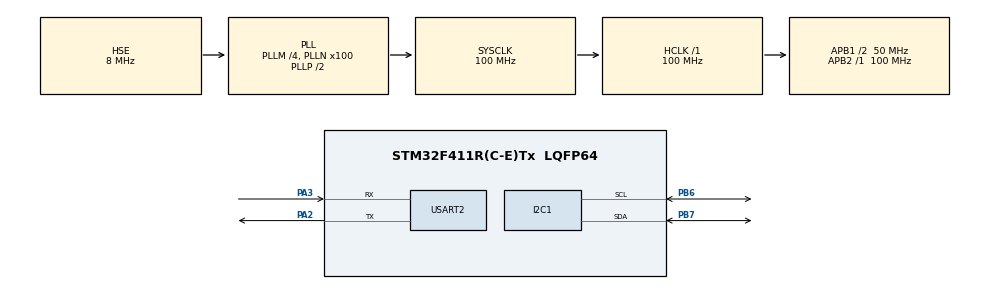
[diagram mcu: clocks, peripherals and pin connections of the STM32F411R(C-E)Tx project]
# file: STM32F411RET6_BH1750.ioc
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Mcu.Family=STM32F4
Mcu.Name=STM32F411R(C-E)Tx
Mcu.Package=LQFP64
NVIC.I2C1_ER_IRQn=true\:0\:0\:false\:false\:true\:true\:true\:true
NVIC.I2C1_EV_IRQn=true\:0\:0\:false\:false\:true\:true\:true\:true
NVIC.PriorityGroup=NVIC_PRIORITYGROUP_4
NVIC.USART2_IRQn=true\:0\:0\:false\:false\:true\:true\:true\:true
PA2.Mode=Asynchronous
PA2.Signal=USART2_TX
PA3.Mode=Asynchronous
PA3.Signal=USART2_RX
PB6.Mode=I2C
PB6.Signal=I2C1_SCL
PB7.Mode=I2C
PB7.Signal=I2C1_SDA
PH0\ -\ OSC_IN.Mode=HSE-External-Oscillator
PH0\ -\ OSC_IN.Signal=RCC_OSC_IN
PH1\ -\ OSC_OUT.Mode=HSE-External-Oscillator
PH1\ -\ OSC_OUT.Signal=RCC_OSC_OUT
ProjectManager.HeapSize=0x200
ProjectManager.StackSize=0x400
ProjectManager.TargetToolchain=STM32CubeIDE
RCC.48MHZClocksFreq_Value=50000000
RCC.AHBFreq_Value=100000000
RCC.APB1CLKDivider=RCC_HCLK_DIV2
RCC.APB1Freq_Value=50000000
RCC.APB1TimFreq_Value=100000000
RCC.APB2Freq_Value=100000000
RCC.APB2TimFreq_Value=100000000
RCC.CortexFreq_Value=100000000
RCC.HCLKFreq_Value=100000000
RCC.HSE_VALUE=8000000
RCC.HSI_VALUE=16000000
RCC.LSE_VALUE=32768
RCC.PLLM=4
RCC.PLLN=100
RCC.PLLSourceVirtual=RCC_PLLSOURCE_HSE
RCC.SYSCLKFreq_VALUE=100000000
RCC.SYSCLKSource=RCC_SYSCLKSOURCE_PLLCLK
RCC.VCOOutputFreq_Value=200000000
USART2.VirtualMode=VM_ASYNC
board=custom

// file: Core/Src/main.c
/* USER CODE BEGIN Header */
/**
 ******************************************************************************
 * @file           : main.c
 * @brief          : Main program body
 ******************************************************************************
 * @attention
 *
 * Copyright (c) 2024 STMicroelectronics.
 * All rights reserved.
 *
 * This software is licensed under terms that can be found in the LICENSE file
 * in the root directory of this software component.
 * If no LICENSE file comes with this software, it is provided AS-IS.
 *
 ******************************************************************************
 */
/* USER CODE END Header */
#include "main.h"

/* USER CODE BEGIN Includes */
#define PLATFORM_STM32_HAL
#include <sensors/BH1750.h>
#include <xuart.h>
/* USER CODE END Includes */

I2C_HandleTypeDef hi2c1;

UART_HandleTypeDef huart2;

/* USER CODE BEGIN PV */
I2CPollingModeMaster i2c(&hi2c1);
BH1750 gy302(&i2c);

UARTLogger logger(&huart2);
/* USER CODE END PV */

void SystemClock_Config(void);
static void MX_GPIO_Init(void);
static void MX_USART2_UART_Init(void);
static void MX_I2C1_Init(void);

int main(void)
{

    /* MCU Configuration--------------------------------------------------------*/

    /* Reset of all peripherals, Initializes the Flash interface and the Systick. */
    HAL_Init();

    /* Configure the system clock */
    SystemClock_Config();

    /* Initialize all configured peripherals */
    MX_GPIO_Init();
    MX_USART2_UART_Init();
    MX_I2C1_Init();
    /* USER CODE BEGIN 2 */
    logger.writeLine("Starting sensor...");
    if (!gy302.init()) {
        logger.writeLine("Unable to initialize BH1750, error: %d", (uint8_t) gy302.error());
    }

    // the next code is not necessary in use, but this is a full test:
    logger.xassert(gy302.powerDown(), "powerDown failed, error: %d", (uint8_t) gy302.error());
    logger.xassert(gy302.powerOn(), "powerOn failed, error: %d", (uint8_t) gy302.error());
    logger.xassert(gy302.reset(), "reset failed, error: %d", (uint8_t) gy302.error());
    logger.xassert(gy302.setMTReg(56), "setMTReg failed, error: %d", (uint8_t) gy302.error());
    logger.xassert(gy302.setPowerState(BH1750PowerState::PowerDown), "setPowerState:powerDown failed, error: %d", (uint8_t) gy302.error());
    logger.xassert(gy302.setPowerState(BH1750PowerState::PowerOn), "setPowerState:powerOn failed, error: %d", (uint8_t) gy302.error());
    logger.xassert(gy302.setPowerState(BH1750PowerState::Reset), "setPowerState:reset failed, error: %d", (uint8_t) gy302.error());
    logger.xassert(gy302.setResolution(BH1750ResolutionMode::ContinuouslyLow), "setResolution failed, error: %d", (uint8_t) gy302.error());
    float v1 = gy302.value();
    logger.xassert(!std::isnan(v1), "Invalid value v1, error: %d", (uint8_t) gy302.error());
    logger.xassert(gy302.setResolution(BH1750ResolutionMode::OneTimeLow), "setResolution:OneTimeLow failed, error: %d", (uint8_t) gy302.error());
    float v2 = gy302.value();
    logger.xassert(!std::isnan(v2), "Invalid value v2, error: %d", (uint8_t) gy302.error());
    float e = 20; // possible deviation
    logger.xassert(std::abs(v2 - v1) < e, "Value v2 != v1, error: %d", (uint8_t) gy302.error());
    gy302.reset(); // reset the device after every measuring in OneTimeXXX modes

    logger.xassert(gy302.setResolution(BH1750ResolutionMode::OneTimeHigh1), "setResolution:OneTimeHigh1 failed, error: %d", (uint8_t) gy302.error());
    float v3 = gy302.value();
    logger.xassert(!std::isnan(v3), "Invalid value v3, error: %d", (uint8_t) gy302.error());
    logger.xassert(std::abs(v3 - v1) < e, "Value v3 != v1, error: %d", (uint8_t) gy302.error());
    gy302.reset();

    logger.xassert(gy302.setResolution(BH1750ResolutionMode::OneTimeHigh2), "setResolution:OneTimeHigh2 failed, error: %d", (uint8_t) gy302.error());
    float v4 = gy302.value();
    logger.xassert(!std::isnan(v4), "Invalid value v4, error: %d", (uint8_t) gy302.error());
    logger.xassert(std::abs(v4 - v1) < e, "Value v4 != v1, error: %d", (uint8_t) gy302.error());
    gy302.reset();

    logger.xassert(gy302.setResolution(BH1750ResolutionMode::ContinuouslyHigh1), "setResolution:ContinuouslyHigh1 failed, error: %d", (uint8_t) gy302.error());
    float v5 = gy302.value();
    logger.xassert(!std::isnan(v5), "Invalid value v5, error: %d", (uint8_t) gy302.error());
    logger.xassert(std::abs(v5 - v1) < e, "Value v5 != v1, error: %d", (uint8_t) gy302.error());

    logger.xassert(gy302.setResolution(BH1750ResolutionMode::ContinuouslyHigh2), "setResolution:ContinuouslyHigh2 failed, error: %d", (uint8_t) gy302.error());
    float v6 = gy302.value();
    logger.xassert(!std::isnan(v6), "Invalid value v6, error: %d", (uint8_t) gy302.error());
    logger.xassert(std::abs(v6 - v1) < e, "Value v6 != v1, error: %d", (uint8_t) gy302.error());

    /* USER CODE END 2 */

    /* Infinite loop */
    /* USER CODE BEGIN WHILE */

    BH1750ResolutionMode modes[] = {
            BH1750ResolutionMode::OneTimeLow,
            BH1750ResolutionMode::ContinuouslyLow,
            BH1750ResolutionMode::OneTimeHigh1,
            BH1750ResolutionMode::OneTimeHigh2,
            BH1750ResolutionMode::ContinuouslyHigh1,
            BH1750ResolutionMode::ContinuouslyHigh2,
    };

    const char *names[] = {
            "OneTimeLow",
            "ContinuouslyLow",
            "OneTimeHigh1",
            "OneTimeHigh2",
            "ContinuouslyHigh1",
            "ContinuouslyHigh2",
    };

    Delay::wait(1000);
    while (1) {
        /* USER CODE END WHILE */

        /* USER CODE BEGIN 3 */

        for (size_t i = 0; i < sizeof(modes) / sizeof(BH1750ResolutionMode); ++i) {
            gy302.setResolution(modes[i]);
            Delay::wait(1000);
            for (int c = 0; c < 5; ++c) {
                if (gy302.ready()) {
                    float lux = gy302.value();
                    logger.writeLine("%s: f=%d.%02d; error=%d",
                            names[i],
                            (int) lux, ((int) (lux * 100)) % 100,
                            (uint8_t)gy302.error());
                }
                switch (modes[i]) {
                case BH1750ResolutionMode::OneTimeLow:
                case BH1750ResolutionMode::OneTimeHigh1:
                case BH1750ResolutionMode::OneTimeHigh2:
                    gy302.reset();
                    break;
                default:
                    break;
                }
                Delay::wait(1000);
            }
        }
    }
    /* USER CODE END 3 */
}

void SystemClock_Config(void)
{
    RCC_OscInitTypeDef RCC_OscInitStruct = { 0 };
    RCC_ClkInitTypeDef RCC_ClkInitStruct = { 0 };

    /** Configure the main internal regulator output voltage
     */
    __HAL_RCC_PWR_CLK_ENABLE();
    __HAL_PWR_VOLTAGESCALING_CONFIG(PWR_REGULATOR_VOLTAGE_SCALE1);

    /** Initializes the RCC Oscillators according to the specified parameters
     * in the RCC_OscInitTypeDef structure.
     */
    RCC_OscInitStruct.OscillatorType = RCC_OSCILLATORTYPE_HSE;
    RCC_OscInitStruct.HSEState = RCC_HSE_ON;
    RCC_OscInitStruct.PLL.PLLState = RCC_PLL_ON;
    RCC_OscInitStruct.PLL.PLLSource = RCC_PLLSOURCE_HSE;
    RCC_OscInitStruct.PLL.PLLM = 4;
    RCC_OscInitStruct.PLL.PLLN = 100;
    RCC_OscInitStruct.PLL.PLLP = RCC_PLLP_DIV2;
    RCC_OscInitStruct.PLL.PLLQ = 4;
    if (HAL_RCC_OscConfig(&RCC_OscInitStruct) != HAL_OK) {
        Error_Handler();
    }

    /** Initializes the CPU, AHB and APB buses clocks
     */
    RCC_ClkInitStruct.ClockType = RCC_CLOCKTYPE_HCLK | RCC_CLOCKTYPE_SYSCLK
            | RCC_CLOCKTYPE_PCLK1 | RCC_CLOCKTYPE_PCLK2;
    RCC_ClkInitStruct.SYSCLKSource = RCC_SYSCLKSOURCE_PLLCLK;
    RCC_ClkInitStruct.AHBCLKDivider = RCC_SYSCLK_DIV1;
    RCC_ClkInitStruct.APB1CLKDivider = RCC_HCLK_DIV2;
    RCC_ClkInitStruct.APB2CLKDivider = RCC_HCLK_DIV1;

    if (HAL_RCC_ClockConfig(&RCC_ClkInitStruct, FLASH_LATENCY_3) != HAL_OK) {
        Error_Handler();
    }
}

static void MX_I2C1_Init(void)
{

    hi2c1.Instance = I2C1;
    hi2c1.Init.ClockSpeed = 100000;
    hi2c1.Init.DutyCycle = I2C_DUTYCYCLE_2;
    hi2c1.Init.OwnAddress1 = 0;
    hi2c1.Init.AddressingMode = I2C_ADDRESSINGMODE_7BIT;
    hi2c1.Init.DualAddressMode = I2C_DUALADDRESS_DISABLE;
    hi2c1.Init.OwnAddress2 = 0;
    hi2c1.Init.GeneralCallMode = I2C_GENERALCALL_DISABLE;
    hi2c1.Init.NoStretchMode = I2C_NOSTRETCH_DISABLE;
    if (HAL_I2C_Init(&hi2c1) != HAL_OK) {
        Error_Handler();
    }

}

static void MX_USART2_UART_Init(void)
{

    huart2.Instance = USART2;
    huart2.Init.BaudRate = 115200;
    huart2.Init.WordLength = UART_WORDLENGTH_8B;
    huart2.Init.StopBits = UART_STOPBITS_1;
    huart2.Init.Parity = UART_PARITY_NONE;
    huart2.Init.Mode = UART_MODE_TX_RX;
    huart2.Init.HwFlowCtl = UART_HWCONTROL_NONE;
    huart2.Init.OverSampling = UART_OVERSAMPLING_16;
    if (HAL_UART_Init(&huart2) != HAL_OK) {
        Error_Handler();
    }

}

static void MX_GPIO_Init(void)
{

    /* GPIO Ports Clock Enable */
    __HAL_RCC_GPIOH_CLK_ENABLE();
    __HAL_RCC_GPIOA_CLK_ENABLE();
    __HAL_RCC_GPIOB_CLK_ENABLE();

}

void Error_Handler(void)
{
    __disable_irq();
    while (1) {
    }
}
